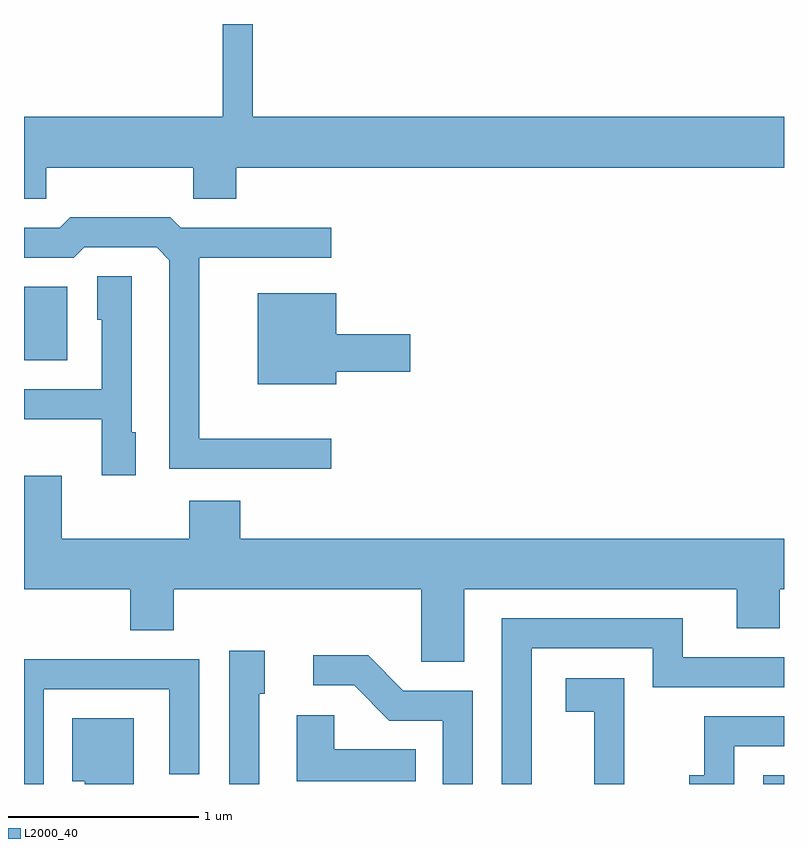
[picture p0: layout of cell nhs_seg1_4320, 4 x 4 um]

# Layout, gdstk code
import gdstk
lib = gdstk.Library(unit=1e-6, precision=1e-09)
def R(c, l, rs):  # rectangles x0, y0, x1, y1
    for r in rs: c.add(gdstk.rectangle(r[:2], r[2:], *l))
def P(c, l, *ps):  # polygons
    for p in ps: c.add(gdstk.Polygon(p, *l))
L2000_40 = (2000, 40)

nhs_seg1_4320 = lib.new_cell('nhs_seg1_4320')
R(nhs_seg1_4320, L2000_40, [(319.501,849.712,319.611,849.759), (315.611,851.941,315.839,852.329)])
P(nhs_seg1_4320, L2000_40, [(315.611,852.791),(315.729,852.791),(315.729,852.956),(316.501,852.956),(316.501,852.791),(316.729,852.791),(316.729,852.956),(319.611,852.956),(319.611,853.224),(316.814,853.224),(316.814,853.712),(316.656,853.712),(316.656,853.224),(315.611,853.224)],
  [(317.228,851.529),(316.534,851.529),(316.534,852.481),(317.228,852.481),(317.228,852.639),(316.437,852.639),(316.382,852.694),(315.854,852.694),(315.799,852.639),(315.611,852.639),(315.611,852.481),(315.872,852.481),(315.927,852.536),(316.309,852.536),(316.376,852.469),(316.376,851.371),(317.228,851.371)],
  [(316.199,851.564),(316.179,851.564),(316.179,852.384),(315.996,852.384),(315.996,852.156),(316.021,852.156),(316.021,851.789),(315.611,851.789),(315.611,851.631),(316.021,851.631),(316.021,851.336),(316.199,851.336)],
  [(317.254,851.881),(317.644,851.881),(317.644,852.079),(317.254,852.079),(317.254,852.294),(316.841,852.294),(316.841,851.816),(317.254,851.816)],
  [(317.929,850.736),(319.361,850.736),(319.361,850.531),(319.589,850.531),(319.589,850.736),(319.611,850.736),(319.611,851.004),(316.749,851.004),(316.749,851.204),(316.481,851.204),(316.481,851.004),(315.809,851.004),(315.809,851.334),(315.611,851.334),(315.611,850.736),(316.171,850.736),(316.171,850.521),(316.399,850.521),(316.399,850.736),(317.701,850.736),(317.701,850.356),(317.929,850.356)],
  [(318.284,850.426),(318.921,850.426),(318.921,850.221),(319.611,850.221),(319.611,850.379),(319.079,850.379),(319.079,850.584),(318.126,850.584),(318.126,849.712),(318.284,849.712)],
  [(316.849,850.186),(316.879,850.186),(316.879,850.414),(316.691,850.414),(316.691,849.712),(316.849,849.712)],
  [(317.974,850.204),(317.607,850.204),(317.422,850.389),(317.133,850.389),(317.133,850.231),(317.349,850.231),(317.534,850.046),(317.816,850.046),(317.816,849.712),(317.974,849.712)],
  [(315.714,850.211),(316.376,850.211),(316.376,849.763),(316.534,849.763),(316.534,850.369),(315.611,850.369),(315.611,849.712),(315.714,849.712)],
  [(318.769,850.269),(318.461,850.269),(318.461,850.091),(318.611,850.091),(318.611,849.712),(318.769,849.712)],
  [(317.673,849.894),(317.244,849.894),(317.244,850.074),(317.046,850.074),(317.046,849.726),(317.673,849.726)],
  [(319.349,849.911),(319.611,849.911),(319.611,850.069),(319.191,850.069),(319.191,849.759),(319.113,849.759),(319.113,849.712),(319.349,849.712)],
  [(316.189,850.059),(315.866,850.059),(315.866,849.726),(315.931,849.726),(315.931,849.712),(316.189,849.712)])

lib.write_gds('nhs_seg1_4320.gds')
